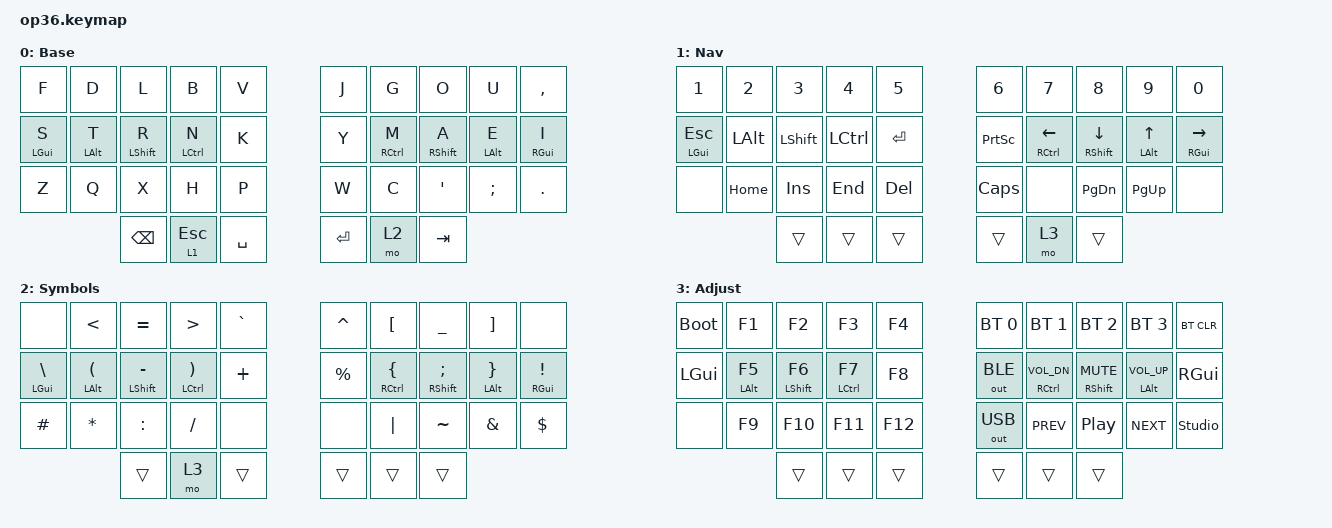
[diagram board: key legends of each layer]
#include "keys_ru.h"
#include <behaviors.dtsi>
#include <dt-bindings/zmk/bt.h>
#include <dt-bindings/zmk/keys.h>
#include <dt-bindings/zmk/outputs.h>

&mt {
    quick-tap-ms = <200>;
    flavor = "tap-preferred";
    require-prior-idle-ms = <125>;
};

/ {
    behaviors {
        hml: home_row_mod_left {
            compatible = "zmk,behavior-hold-tap";
            #binding-cells = <2>;
            flavor = "balanced";
            require-prior-idle-ms = <150>;
            tapping-term-ms = <250>;
            quick-tap-ms = <175>;
            bindings = <&kp>, <&kp>;

            hold-trigger-key-positions = <5 6 7 8 9 15 16 17 18 19 25 26 27 28 29 33 34 35>;
            hold-trigger-on-release;
        };

        hmr: home_row_mod_right {
            compatible = "zmk,behavior-hold-tap";
            #binding-cells = <2>;
            flavor = "balanced";
            require-prior-idle-ms = <150>;
            tapping-term-ms = <250>;
            quick-tap-ms = <175>;
            bindings = <&kp>, <&kp>;

            hold-trigger-key-positions = <0 1 2 3 4 10 11 12 13 14 20 21 22 23 24 30 31 32>;
            hold-trigger-on-release;
        };
    };

    combos {
        compatible = "zmk,combos";

        kha {
            bindings = <&kp LBKT>;
            key-positions = <6 7>;
        };

        hrdsgn {
            bindings = <&kp RBKT>;
            key-positions = <7 8>;
        };

        questionmark {
            bindings = <&kp QUESTION>;
            key-positions = <29 28>;
        };

        exclmark {
            bindings = <&kp EXCL>;
            key-positions = <28 27>;
        };
    };

    keymap {
        compatible = "zmk,keymap";

        base {
            bindings = <
  &kp F        &kp D        &kp L         &kp B          &kp V                              &kp J  &kp G         &kp O         &kp U          &kp COMMA
  &hml LGUI S  &hml LALT T  &hml LSHFT R  &hml LCTRL N   &kp K                              &kp Y  &hmr RCTRL M  &hmr RSHFT A  &hmr LALT E    &hmr RGUI I
  &kp Z        &kp Q        &kp X         &kp H          &kp P                              &kp W  &kp C         &kp SQT       &kp SEMICOLON  &kp PERIOD
                                          &kp BACKSPACE  &lt 1 ESC  &kp SPACE    &kp ENTER  &mo 2  &kp TAB
            >;

            display-name = "Base";
        };

        nav {
            bindings = <
  &kp N1         &kp N2    &kp N3     &kp N4     &kp N5                        &kp N6           &kp N7           &kp N8           &kp N9        &kp N0
  &hml LGUI ESC  &kp LALT  &kp LSHFT  &kp LCTRL  &kp ENTER                     &kp PRINTSCREEN  &hmr RCTRL LEFT  &hmr RSHFT DOWN  &hmr LALT UP  &hmr RGUI RIGHT
  &none          &kp HOME  &kp INS    &kp END    &kp DELETE                    &kp CAPS         &none            &kp PG_DN        &kp PG_UP     &none
                                      &trans     &trans      &trans    &trans  &mo 3            &trans
            >;

            display-name = "Nav";
        };

        sym {
            bindings = <
  &none           &kp LT          &kp EQUAL         &kp GT           &kp GRAVE                    &kp CARET  &kp LBKT         &kp UNDER        &kp RBKT        &none
  &hml LGUI BSLH  &hml LALT LPAR  &hml LSHFT MINUS  &hml LCTRL RPAR  &kp PLUS                     &kp PRCNT  &hmr RCTRL LBRC  &hmr RSHFT SEMI  &hmr LALT RBRC  &hmr RGUI EXCL
  &kp HASH        &kp STAR        &kp COLON         &kp FSLH         &none                        &none      &kp PIPE         &kp TILDE        &kp AMPS        &kp DLLR
                                                    &trans           &mo 3      &trans    &trans  &trans     &trans
            >;

            display-name = "Symbols";
        };

        adj {
            bindings = <
  &bootloader  &kp F1        &kp F2         &kp F3         &kp F4                     &bt BT_SEL 0  &bt BT_SEL 1         &bt BT_SEL 2       &bt BT_SEL 3        &bt BT_CLR
  &kp LGUI     &hml LALT F5  &hml LSHFT F6  &hml LCTRL F7  &kp F8                     &out OUT_BLE  &hmr RCTRL C_VOL_DN  &hmr RSHFT C_MUTE  &hmr LALT C_VOL_UP  &kp RGUI
  &none        &kp F9        &kp F10        &kp F11        &kp F12                    &out OUT_USB  &kp C_PREV           &kp C_PP           &kp C_NEXT          &studio_unlock
                                            &trans         &trans   &trans    &trans  &trans        &trans
            >;

            display-name = "Adjust";
        };
    };
};
